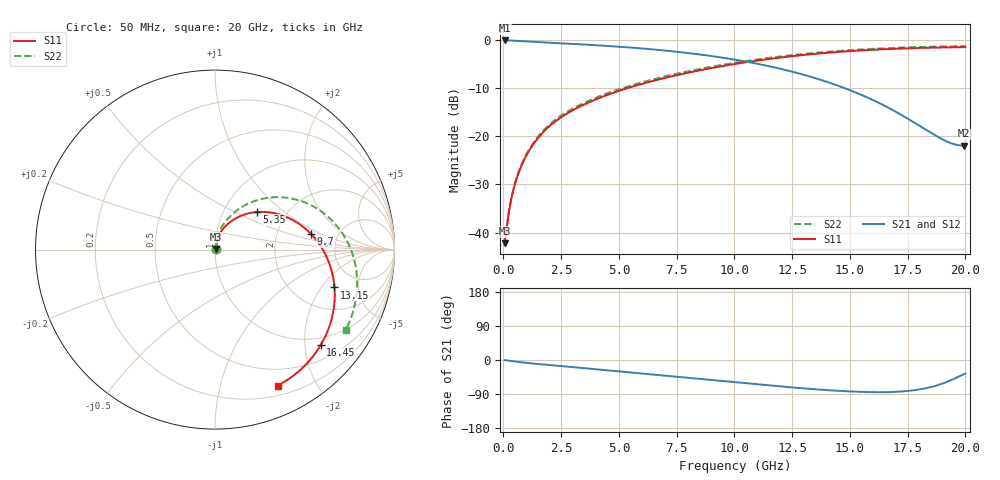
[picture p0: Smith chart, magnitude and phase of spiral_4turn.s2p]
#  Hz  S  RI  R  50
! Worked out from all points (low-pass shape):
!   400 points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, 50 MHz to 20 GHz, reference 50 ohm
!   highest |S21| = -0.18 dB at 50 MHz (marker M1); lowest = -22.0 dB at 19.95 GHz (marker M2)
!   |S21| within 3 dB of the highest: start of sweep to 8.652 GHz
!   lowest |S11| = -42.2 dB at 50 MHz (marker M3), VSWR 1.02, Z = 50.7 + j0.308 ohm
!   |S11| at or under -10 dB: start of sweep to 5.412 GHz
!   |S22| runs from -42.8 to -1.4 dB; largest |S21 - S12| = 0.00086
!   S11 on the Smith chart (normalised r, x): 50 MHz: 1.01, +0.01; 5.35 GHz: 1.43, +0.66; 9.7 GHz: 3.16, +0.78; 13.15 GHz: 3.28, -2.70; 16.45 GHz: 0.82, -2.35; 20 GHz: 0.30, -1.52
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5e7  0.00714 0.00304  0.9789 -0.00702  0.9783 -0.00694  0.0065 0.00314
2.5e8  0.00761 0.0152  0.9766 -0.0348  0.9761 -0.0345  0.00681 0.0157
4e8  0.00841 0.0244  0.9731 -0.0551  0.9727 -0.0546  0.00734 0.0252
6.5e8  0.0107 0.0398  0.9642 -0.0868  0.9642 -0.0862  0.00889 0.0413
1e9  0.016 0.0613  0.9478 -0.126  0.9483 -0.1256  0.0128 0.064
1.45e9  0.0272 0.0883  0.9252 -0.1679  0.9256 -0.1681  0.0214 0.0931
1.95e9  0.0449 0.1156  0.9021 -0.2083  0.9021 -0.2088  0.0359 0.1237
3.4e9  0.1139 0.173  0.832 -0.3204  0.8321 -0.3202  0.0939 0.1943
5.35e9  0.2325 0.2094  0.7063 -0.4392  0.706 -0.4391  0.1944 0.2607
6.7e9  0.3266 0.2037  0.6026 -0.4973  0.6026 -0.4974  0.2783 0.286
8.2e9  0.4347 0.1639  0.4775 -0.5326  0.4772 -0.5323  0.3822 0.2909
9.7e9  0.5353 0.0867  0.3486 -0.5333  0.3483 -0.5332  0.4914 0.2663
1.005e10  0.5563 0.0633  0.3194 -0.5283  0.3191 -0.5281  0.5167 0.256
1.165e10  0.6325 -0.0659  0.1957 -0.4818  0.1956 -0.4815  0.6261 0.1863
1.315e10  0.6657 -0.2108  0.1046 -0.4085  0.1045 -0.4079  0.71 0.0907
1.335e10  0.6669 -0.2311  0.0947 -0.3972  0.0947 -0.3966  0.7193 0.0761
1.485e10  0.6507 -0.3828  0.0401 -0.3059  0.0401 -0.3056  0.7713 -0.0425
1.645e10  0.589 -0.5319  0.0184 -0.2083  0.0188 -0.2079  0.7919 -0.1773
1.67e10  0.5758 -0.553  0.018 -0.1938  0.0184 -0.1936  0.7919 -0.1983
1.91e10  0.4172 -0.7164  0.0448 -0.0781  0.0455 -0.0779  0.7554 -0.3866
1.995e10  0.3525 -0.7561  0.0635 -0.0479  0.0629 -0.0484  0.7294 -0.4452
2e10  0.3486 -0.7581  0.0647 -0.0464  0.064 -0.0468  0.7277 -0.4485
